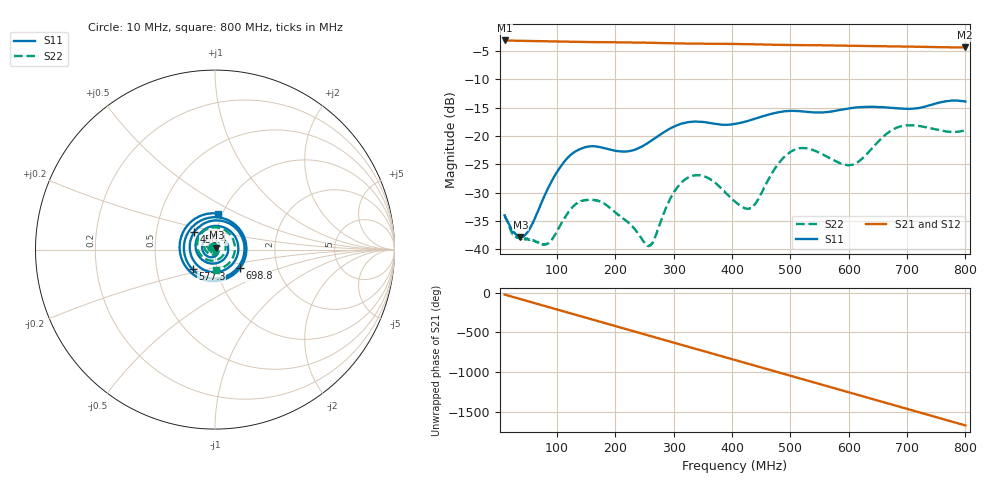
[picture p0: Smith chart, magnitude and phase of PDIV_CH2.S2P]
!Keysight Technologies,E5061B,SG49100003,B.05.06
!Date: Tue Jan 07 17:33:23 2020
!Data & Calibration Information:
!Freq	S11:SOLT2(ON)	S21:SOLT2(ON)	S12:SOLT2(ON)	S22:SOLT2(ON)
# Hz S RI R 50
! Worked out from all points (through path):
!   1601 points, 10 MHz to 800 MHz, reference 50 ohm
!   highest |S21| = -3.17 dB at 10.49 MHz (marker M1); lowest = -4.4 dB at 799 MHz (marker M2)
!   group delay of S21, straight-line fit = 5.81 ns
!   lowest |S11| = -37.8 dB at 37.16 MHz (marker M3), VSWR 1.03, Z = 50.7 + j1.07 ohm
!   |S11| at or under -10 dB: start of sweep to end of sweep
!   |S22| runs from -39.4 to -18.1 dB; largest |S21 - S12| = 0.0011
!   S11 on the Smith chart (normalised r, x): 10 MHz: 0.98, +0.03; 456.4 MHz: 0.78, +0.15; 577.3 MHz: 0.76, -0.17; 698.8 MHz: 1.29, -0.28; 800 MHz: 0.95, +0.40
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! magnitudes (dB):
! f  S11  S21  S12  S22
! 10 MHz  -34.0  -3.2  -3.2  -33.9
! 10.49 MHz  -34.1  -3.2  -3.2  -34.1
! 37.16 MHz  -37.8  -3.2  -3.2  -38.2
! 52.96 MHz  -36.3  -3.3  -3.3  -38.3
! 84.56 MHz  -29.2  -3.3  -3.3  -39.0
! 141.8 MHz  -22.2  -3.4  -3.4  -31.5
! 182.8 MHz  -22.2  -3.5  -3.5  -32.1
! 255.9 MHz  -21.2  -3.6  -3.6  -39.4
! 273.7 MHz  -20.0  -3.6  -3.6  -36.3
! 300.3 MHz  -18.4  -3.7  -3.7  -29.9
! 329.5 MHz  -17.5  -3.7  -3.7  -27.1
! 405 MHz  -17.9  -3.8  -3.8  -31.6
! 431.7 MHz  -17.2  -3.8  -3.8  -32.7
! 456.4 MHz  -16.4  -3.9  -3.9  -28.9
! 495.9 MHz  -15.6  -4.0  -4.0  -23.1
! 536.8 MHz  -15.8  -4.0  -4.0  -22.4
! 577.3 MHz  -15.6  -4.1  -4.1  -24.4
! 612.4 MHz  -15.0  -4.1  -4.1  -24.8
! 668.7 MHz  -15.0  -4.2  -4.2  -19.3
! 698.8 MHz  -15.2  -4.3  -4.3  -18.1
! 799 MHz  -13.9  -4.4  -4.4  -19.0
! 800 MHz  -13.9  -4.4  -4.4  -19.0
